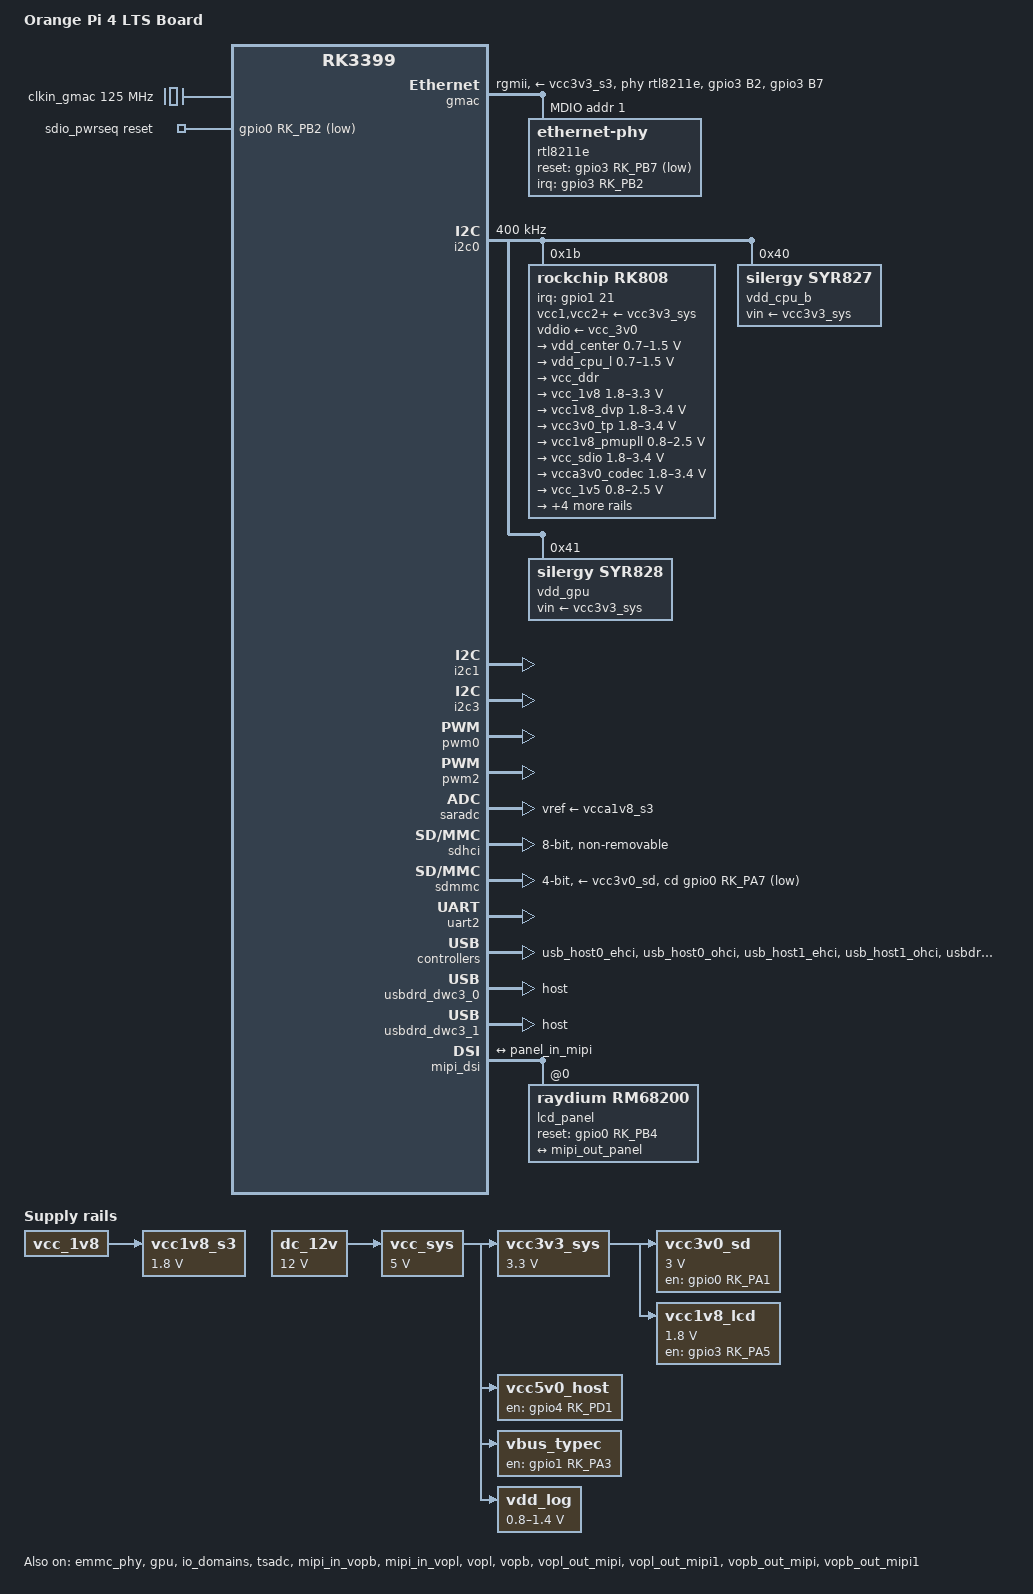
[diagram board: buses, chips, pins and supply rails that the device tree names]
// SPDX-License-Identifier: (GPL-2.0+ OR MIT)
/*
 * Copyright (c) 2017 Fuzhou Rockchip Electronics Co., Ltd.
 */

/dts-v1/;

#include "dt-bindings/pwm/pwm.h"
#include "dt-bindings/input/input.h"
#include <dt-bindings/interrupt-controller/irq.h>
#include "dt-bindings/usb/pd.h"
#include "rk3399.dtsi"
#include "rk3399-opp.dtsi"

/ {
	model = "Orange Pi 4 LTS Board";
	compatible = "xunlong,rk3399-orangepi", "rockchip,rk3399";

	aliases {
		ethernet0 = &gmac;
		mmc0 = &sdio0;
		mmc1 = &sdmmc;
		mmc2 = &sdhci;
	};

	chosen {
		stdout-path = "serial2:1500000n8";
	};

	clkin_gmac: external-gmac-clock {
		compatible = "fixed-clock";
		clock-frequency = <125000000>;
		clock-output-names = "clkin_gmac";
		#clock-cells = <0>;
	};
 

	dc_12v: dc-12v {
		compatible = "regulator-fixed";
		regulator-name = "dc_12v";
		regulator-always-on;
		regulator-boot-on;
		regulator-min-microvolt = <12000000>;
		regulator-max-microvolt = <12000000>;
	};
 

	sdio_pwrseq: sdio-pwrseq {
		compatible = "mmc-pwrseq-simple";
		clocks = <&rk808 1>;
		clock-names = "ext_clock";
		pinctrl-names = "default";
		pinctrl-0 = <&wifi_reg_on_h>;
		reset-gpios = <&gpio0 RK_PB2 GPIO_ACTIVE_LOW>;
	};

	/* switched by pmic_sleep */
	vcc1v8_s3: vcca1v8_s3: vcc1v8-s3 {
		compatible = "regulator-fixed";
		regulator-name = "vcc1v8_s3";
		regulator-always-on;
		regulator-boot-on;
		regulator-min-microvolt = <1800000>;
		regulator-max-microvolt = <1800000>;
		vin-supply = <&vcc_1v8>;
	};

	vcc3v0_sd: vcc3v0-sd {
		compatible = "regulator-fixed";
		enable-active-high;
		gpio = <&gpio0 RK_PA1 GPIO_ACTIVE_HIGH>;
		pinctrl-names = "default";
		pinctrl-0 = <&sdmmc0_pwr_h>;
		regulator-boot-on;
		regulator-max-microvolt = <3000000>;
		regulator-min-microvolt = <3000000>;
		regulator-name = "vcc3v0_sd";
		vin-supply = <&vcc3v3_sys>;
	};

	vcc3v3_sys: vcc3v3-sys {
		compatible = "regulator-fixed";
		regulator-name = "vcc3v3_sys";
		regulator-always-on;
		regulator-boot-on;
		regulator-min-microvolt = <3300000>;
		regulator-max-microvolt = <3300000>;
		vin-supply = <&vcc_sys>;
	};

	vcc5v0_host: vcc5v0-host-regulator {
		compatible = "regulator-fixed";
		enable-active-high;
		gpio = <&gpio4 RK_PD1 GPIO_ACTIVE_HIGH>;
		pinctrl-names = "default";
		pinctrl-0 = <&vcc5v0_host_en>;
		regulator-name = "vcc5v0_host";
		regulator-always-on;
		vin-supply = <&vcc_sys>;
	};

	vbus_typec: vbus-typec-regulator {
		compatible = "regulator-fixed";
		enable-active-high;
		gpio = <&gpio1 RK_PA3 GPIO_ACTIVE_HIGH>;
		pinctrl-names = "default";
		pinctrl-0 = <&vcc5v0_typec_en>;
		regulator-name = "vbus_typec";
		vin-supply = <&vcc_sys>;
	};

	vcc_sys: vcc-sys {
		compatible = "regulator-fixed";
		regulator-name = "vcc_sys";
		regulator-always-on;
		regulator-boot-on;
		regulator-min-microvolt = <5000000>;
		regulator-max-microvolt = <5000000>;
		vin-supply = <&dc_12v>;
	};

	vdd_log: vdd-log {
		compatible = "pwm-regulator";
		pwms = <&pwm2 0 25000 1>;
		pwm-supply = <&vcc_sys>;
		regulator-name = "vdd_log";
		regulator-always-on;
		regulator-boot-on;
		regulator-min-microvolt = <800000>;
		regulator-max-microvolt = <1400000>;
	};
	
	/* MIPI DSI panel 1.8v supply */
	vcc1v8_lcd: vcc1v8-lcd {
		compatible = "regulator-fixed";
		enable-active-high;
		regulator-name = "vcc1v8_lcd";
		regulator-min-microvolt = <1800000>;
		regulator-max-microvolt = <1800000>;
		vin-supply = <&vcc3v3_sys>;
		gpio = <&gpio3 RK_PA5 GPIO_ACTIVE_HIGH>;
		pinctrl-names = "default";
	};
	

 
};

&cpu_l0 {
	cpu-supply = <&vdd_cpu_l>;
};

&cpu_l1 {
	cpu-supply = <&vdd_cpu_l>;
};

&cpu_l2 {
	cpu-supply = <&vdd_cpu_l>;
};

&cpu_l3 {
	cpu-supply = <&vdd_cpu_l>;
};

&cpu_b0 {
	cpu-supply = <&vdd_cpu_b>;
};

&cpu_b1 {
	cpu-supply = <&vdd_cpu_b>;
};

&emmc_phy {
	status = "okay";
};

&gmac {
	assigned-clocks = <&cru SCLK_RMII_SRC>;
	assigned-clock-parents = <&clkin_gmac>;
	clock_in_out = "input";
	phy-supply = <&vcc3v3_s3>;
	phy-mode = "rgmii";
	phy-handle = <&rtl8211e>;
	pinctrl-names = "default";
	pinctrl-0 = <&rgmii_pins>, <&phy_intb>, <&phy_rstb>;
	tx_delay = <0x28>;
	rx_delay = <0x11>;
	status = "okay";

	mdio {
		compatible = "snps,dwmac-mdio";
		#address-cells = <1>;
		#size-cells = <0>;

		rtl8211e: ethernet-phy@1 {
			reg = <1>;
			interrupt-parent = <&gpio3>;
			interrupts = <RK_PB2 IRQ_TYPE_LEVEL_LOW>;
			reset-assert-us = <10000>;
			reset-deassert-us = <30000>;
			reset-gpios = <&gpio3 RK_PB7 GPIO_ACTIVE_LOW>;
		};
	};
};

&gpu {
	mali-supply = <&vdd_gpu>;
	status = "okay";
};

 

&i2c0 {
	clock-frequency = <400000>;
	i2c-scl-rising-time-ns = <168>;
	i2c-scl-falling-time-ns = <4>;
	status = "okay";

	rk808: pmic@1b {
		compatible = "rockchip,rk808";
		reg = <0x1b>;
		interrupt-parent = <&gpio1>;
		interrupts = <21 IRQ_TYPE_LEVEL_LOW>;
		#clock-cells = <1>;
		clock-output-names = "rtc_clko_soc", "rtc_clko_wifi";
		pinctrl-names = "default";
		pinctrl-0 = <&pmic_int_l>;
		rockchip,system-power-controller;
		wakeup-source;

		vcc1-supply = <&vcc3v3_sys>;
		vcc2-supply = <&vcc3v3_sys>;
		vcc3-supply = <&vcc3v3_sys>;
		vcc4-supply = <&vcc3v3_sys>;
		vcc6-supply = <&vcc3v3_sys>;
		vcc7-supply = <&vcc3v3_sys>;
		vcc8-supply = <&vcc3v3_sys>;
		vcc9-supply = <&vcc3v3_sys>;
		vcc10-supply = <&vcc3v3_sys>;
		vcc11-supply = <&vcc3v3_sys>;
		vcc12-supply = <&vcc3v3_sys>;
		vddio-supply = <&vcc_3v0>;

		regulators {
			vdd_center: DCDC_REG1 {
				regulator-name = "vdd_center";
				regulator-always-on;
				regulator-boot-on;
				regulator-min-microvolt = <700000>;
				regulator-max-microvolt = <1500000>;
				regulator-ramp-delay = <6001>;
				regulator-state-mem {
					regulator-off-in-suspend;
				};
			};

			vdd_cpu_l: DCDC_REG2 {
				regulator-name = "vdd_cpu_l";
				regulator-always-on;
				regulator-boot-on;
				regulator-min-microvolt = <700000>;
				regulator-max-microvolt = <1500000>;
				regulator-ramp-delay = <6001>;
				regulator-state-mem {
					regulator-off-in-suspend;
				};
			};

			vcc_ddr: DCDC_REG3 {
				regulator-name = "vcc_ddr";
				regulator-always-on;
				regulator-boot-on;
				regulator-state-mem {
					regulator-on-in-suspend;
				};
			};

			vcc_1v8: DCDC_REG4 {
				regulator-name = "vcc_1v8";
				regulator-always-on;
				regulator-boot-on;
				regulator-min-microvolt = <1800000>;
				regulator-max-microvolt = <3300000>;
				regulator-state-mem {
					regulator-on-in-suspend;
					regulator-suspend-microvolt = <1800000>;
				};
			};

			vcc1v8_dvp: LDO_REG1 {
				regulator-name = "vcc1v8_dvp";
				regulator-always-on;
				regulator-boot-on;
				regulator-min-microvolt = <1800000>;
				regulator-max-microvolt = <3400000>;
				regulator-state-mem {
					regulator-off-in-suspend;
				};
			};

			vcc3v0_tp: LDO_REG2 {
				regulator-name = "vcc3v0_tp";
				regulator-always-on;
				regulator-boot-on;
				regulator-min-microvolt = <1800000>;
				regulator-max-microvolt = <3400000>;
				regulator-state-mem {
					regulator-off-in-suspend;
				};
			};

			vcc1v8_pmupll: LDO_REG3 {
				regulator-name = "vcc1v8_pmupll";
				regulator-always-on;
				regulator-boot-on;
				regulator-min-microvolt = <800000>;
				regulator-max-microvolt = <2500000>;
				regulator-state-mem {
					regulator-on-in-suspend;
					regulator-suspend-microvolt = <1800000>;
				};
			};

			vcc_sdio: LDO_REG4 {
				regulator-name = "vcc_sdio";
				regulator-always-on;
				regulator-boot-on;
				regulator-min-microvolt = <1800000>;
				regulator-max-microvolt = <3400000>;
				regulator-state-mem {
					regulator-on-in-suspend;
					regulator-suspend-microvolt = <3000000>;
				};
			};

			vcca3v0_codec: LDO_REG5 {
				regulator-name = "vcca3v0_codec";
				regulator-always-on;
				regulator-boot-on;
				regulator-min-microvolt = <1800000>;
				regulator-max-microvolt = <3400000>;
				regulator-state-mem {
					regulator-off-in-suspend;
				};
			};

			vcc_1v5: LDO_REG6 {
				regulator-name = "vcc_1v5";
				regulator-always-on;
				regulator-boot-on;
				regulator-min-microvolt = <800000>;
				regulator-max-microvolt = <2500000>;
				regulator-state-mem {
					regulator-on-in-suspend;
					regulator-suspend-microvolt = <1500000>;
				};
			};

			vcca1v8_codec: LDO_REG7 {
				regulator-name = "vcca1v8_codec";
				regulator-always-on;
				regulator-boot-on;
				regulator-min-microvolt = <800000>;
				regulator-max-microvolt = <2500000>;
				regulator-state-mem {
					regulator-off-in-suspend;
				};
			};

			vcc_3v0: LDO_REG8 {
				regulator-name = "vcc_3v0";
				regulator-always-on;
				regulator-boot-on;
				regulator-min-microvolt = <1800000>;
				regulator-max-microvolt = <3400000>;
				regulator-state-mem {
					regulator-on-in-suspend;
					regulator-suspend-microvolt = <3000000>;
				};
			};

			vcc3v3_s3: SWITCH_REG1 {
				regulator-name = "vcc3v3_s3";
				regulator-always-on;
				regulator-boot-on;
				regulator-state-mem {
					regulator-off-in-suspend;
				};
			};

			vcc3v3_s0: SWITCH_REG2 {
				regulator-name = "vcc3v3_s0";
				regulator-always-on;
				regulator-boot-on;
				regulator-state-mem {
					regulator-off-in-suspend;
				};
			};
			

		};
	};

	vdd_cpu_b: regulator@40 {
		compatible = "silergy,syr827";
		reg = <0x40>;
		fcs,suspend-voltage-selector = <1>;
		pinctrl-names = "default";
		pinctrl-0 = <&cpu_b_sleep>;
		regulator-name = "vdd_cpu_b";
		regulator-min-microvolt = <712500>;
		regulator-max-microvolt = <1500000>;
		regulator-ramp-delay = <1000>;
		regulator-always-on;
		regulator-boot-on;
		vin-supply = <&vcc3v3_sys>;

		regulator-state-mem {
			regulator-off-in-suspend;
		};
	};

	vdd_gpu: regulator@41 {
		compatible = "silergy,syr828";
		reg = <0x41>;
		fcs,suspend-voltage-selector = <1>;
		pinctrl-names = "default";
		pinctrl-0 = <&gpu_sleep>;
		regulator-name = "vdd_gpu";
		regulator-min-microvolt = <712500>;
		regulator-max-microvolt = <1500000>;
		regulator-ramp-delay = <1000>;
		regulator-always-on;
		regulator-boot-on;
		vin-supply = <&vcc3v3_sys>;

		regulator-state-mem {
			regulator-off-in-suspend;
		};
	};
};

&i2c1 {
	i2c-scl-rising-time-ns = <450>;
	i2c-scl-falling-time-ns = <15>;
	status = "okay";
};

&i2c3 {
	i2c-scl-rising-time-ns = <450>;
	i2c-scl-falling-time-ns = <15>;
	status = "okay";
};

 

&io_domains {
	status = "okay";
	bt656-supply = <&vcc_3v0>;
	audio-supply = <&vcca1v8_codec>;
	sdmmc-supply = <&vcc_sdio>;
	gpio1830-supply = <&vcc_3v0>;
};

&pmu_io_domains {
	status = "okay";
	pmu1830-supply = <&vcc_3v0>;
};

&pinctrl {
	buttons {
		pwr_btn: pwr-btn {
			rockchip,pins = <0 RK_PA5 RK_FUNC_GPIO &pcfg_pull_up>;
		};
	};

	gmac {
		phy_intb: phy-intb {
			rockchip,pins = <3 RK_PB2 RK_FUNC_GPIO &pcfg_pull_up>;
		};

		phy_rstb: phy-rstb {
			rockchip,pins = <3 RK_PB7 RK_FUNC_GPIO &pcfg_pull_none>;
		};
	};

	pmic {
		cpu_b_sleep: cpu-b-sleep {
			rockchip,pins = <1 RK_PC1 RK_FUNC_GPIO &pcfg_pull_down>;
		};

		gpu_sleep: gpu-sleep {
			rockchip,pins = <1 RK_PB6 RK_FUNC_GPIO &pcfg_pull_down>;
		};

		pmic_int_l: pmic-int-l {
			rockchip,pins =
				<1 RK_PC5 RK_FUNC_GPIO &pcfg_pull_up>;
		};
	};

	sd {
		sdmmc0_pwr_h: sdmmc0-pwr-h {
			rockchip,pins =
				<0 RK_PA1 RK_FUNC_GPIO &pcfg_pull_none>;
		};
	};

	usb2 {
		vcc5v0_host_en: vcc5v0-host-en {
			rockchip,pins =
				<4 RK_PD1 RK_FUNC_GPIO &pcfg_pull_none>;
		};

		vcc5v0_typec_en: vcc5v0-typec-en {
			rockchip,pins =
				<1 RK_PA3 RK_FUNC_GPIO &pcfg_pull_none>;
		};
	};

	sdio-pwrseq {
		wifi_reg_on_h: wifi-reg-on-h {
			rockchip,pins = <0 RK_PB2 RK_FUNC_GPIO &pcfg_pull_none>;
		};
	};
 
};

&pwm0 {
	status = "okay";
};

&pwm2 {
	status = "okay";
};

&saradc {
	vref-supply = <&vcca1v8_s3>;
	status = "okay";
};

&sdhci {
	bus-width = <8>;
	mmc-hs400-1_8v;
	mmc-hs400-enhanced-strobe;
	non-removable;
	status = "okay";
};

 

&sdmmc {
	bus-width = <4>;
	cap-mmc-highspeed;
	cap-sd-highspeed;
	cd-gpios = <&gpio0 RK_PA7 GPIO_ACTIVE_LOW>;
	clock-frequency = <150000000>;
	disable-wp;
	max-frequency = <150000000>;
	pinctrl-names = "default";
	pinctrl-0 = <&sdmmc_clk &sdmmc_cmd &sdmmc_cd &sdmmc_bus4>;
	vmmc-supply = <&vcc3v0_sd>;
	vqmmc-supply = <&vcc_sdio>;
	status = "okay";
};

 

&tsadc {
	rockchip,hw-tshut-mode = <1>;
	rockchip,hw-tshut-polarity = <1>;
	status = "okay";
};

 
 

&uart2 {
	status = "okay";
};

&usb_host0_ehci {
	status = "okay";
};

&usb_host0_ohci {
	status = "okay";
};

&usb_host1_ehci {
	status = "okay";
};

&usb_host1_ohci {
	status = "okay";
};

&mipi_out {
	status = "okay";
};

&mipi_in_vopb {
	status = "okay";
};

&mipi_in_vopl {
	status = "okay";
};



&usbdrd3_0 {
	status = "okay";
};

&usbdrd_dwc3_0 {
	status = "okay";
	dr_mode = "host";
};

&usbdrd3_1 {
	status = "okay";
};

&usbdrd_dwc3_1 {
	status = "okay";
	dr_mode = "host";
};

&vopl_mmu {
	status = "okay";
};
&vopb_mmu {
	status = "okay";
};
&vopl_out {
	status = "okay";
}; 
&vopb_out {
	status = "okay";
}; 
&vopl {
	status = "okay";
};
&vopb {
	status = "okay";
};
&vopl_out_mipi {
	status = "okay";
}; 
&vopl_out_mipi1 {
	status = "okay";
}; 
&vopb_out_mipi {
	status = "okay";
}; 
&vopb_out_mipi1 {
	status = "okay";
}; 
&mipi_dsi {
        status = "okay";
        lcd_panel: panel@0 {
                compatible = "raydium,rm68200";
                reg = <0>;
 		status = "okay";
                reset-gpios = <&gpio0 RK_PB4 GPIO_ACTIVE_HIGH>;
                port {
                        panel_in_mipi: endpoint {
                                remote-endpoint = <&mipi_out_panel>;
                        };
                };
        };
        ports {
                mipi_out: port@1 {
                        reg = <1>;
                        #address-cells = <1>;
                        #size-cells = <0>;
                        status = "okay";
                        mipi_out_panel: endpoint {
                                remote-endpoint = <&panel_in_mipi>;
                                status = "okay";
                        };
                };
        };
};
